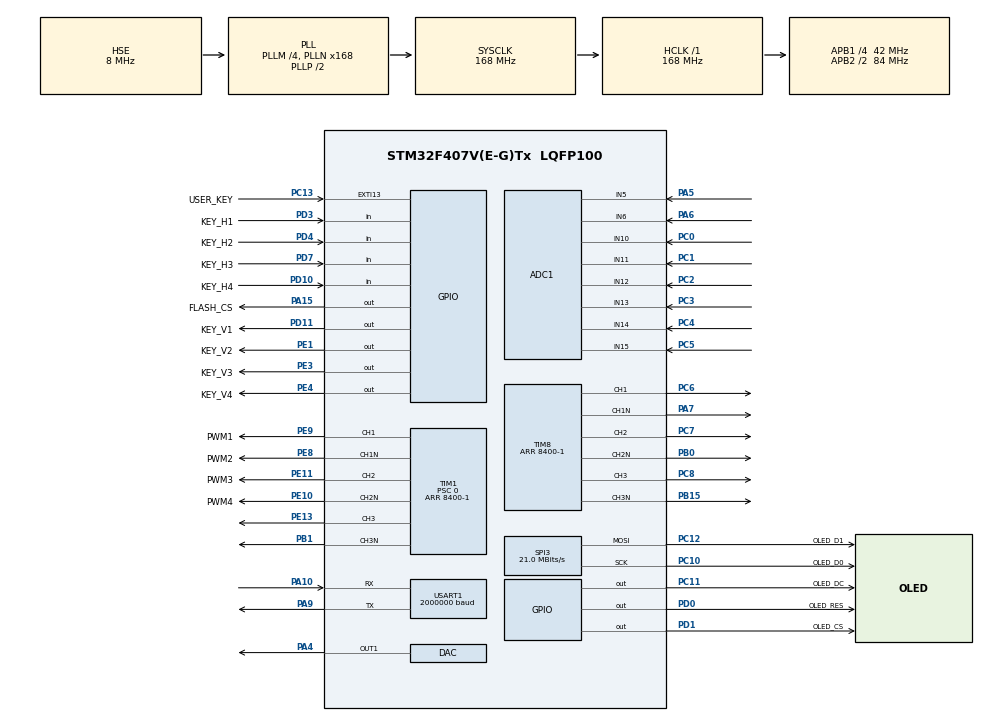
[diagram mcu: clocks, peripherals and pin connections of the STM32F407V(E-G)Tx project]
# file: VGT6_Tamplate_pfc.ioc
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ADC1.Channel-0\#ChannelRegularConversion=ADC_CHANNEL_5
ADC1.Channel-1\#ChannelRegularConversion=ADC_CHANNEL_6
ADC1.Channel-2\#ChannelRegularConversion=ADC_CHANNEL_10
ADC1.Channel-3\#ChannelRegularConversion=ADC_CHANNEL_11
ADC1.Channel-4\#ChannelRegularConversion=ADC_CHANNEL_12
ADC1.Channel-5\#ChannelRegularConversion=ADC_CHANNEL_13
ADC1.Channel-6\#ChannelRegularConversion=ADC_CHANNEL_14
ADC1.Channel-7\#ChannelRegularConversion=ADC_CHANNEL_15
ADC1.ContinuousConvMode=ENABLE
ADC1.DMAContinuousRequests=ENABLE
ADC1.NbrOfConversion=8
ADC1.NbrOfConversionFlag=1
ADC1.Rank-0\#ChannelRegularConversion=1
ADC1.Rank-1\#ChannelRegularConversion=2
ADC1.Rank-2\#ChannelRegularConversion=3
ADC1.Rank-3\#ChannelRegularConversion=4
ADC1.Rank-4\#ChannelRegularConversion=5
ADC1.Rank-5\#ChannelRegularConversion=6
ADC1.Rank-6\#ChannelRegularConversion=7
ADC1.Rank-7\#ChannelRegularConversion=8
ADC1.SamplingTime-0\#ChannelRegularConversion=ADC_SAMPLETIME_84CYCLES
ADC1.SamplingTime-1\#ChannelRegularConversion=ADC_SAMPLETIME_84CYCLES
ADC1.SamplingTime-2\#ChannelRegularConversion=ADC_SAMPLETIME_84CYCLES
ADC1.SamplingTime-3\#ChannelRegularConversion=ADC_SAMPLETIME_84CYCLES
ADC1.SamplingTime-4\#ChannelRegularConversion=ADC_SAMPLETIME_84CYCLES
ADC1.SamplingTime-5\#ChannelRegularConversion=ADC_SAMPLETIME_84CYCLES
ADC1.SamplingTime-6\#ChannelRegularConversion=ADC_SAMPLETIME_84CYCLES
ADC1.SamplingTime-7\#ChannelRegularConversion=ADC_SAMPLETIME_84CYCLES
ADC1.ScanConvMode=ENABLE
ADC1.master=1
Dma.ADC1.2.Direction=DMA_PERIPH_TO_MEMORY
Dma.ADC1.2.FIFOMode=DMA_FIFOMODE_DISABLE
Dma.ADC1.2.Instance=DMA2_Stream0
Dma.ADC1.2.MemDataAlignment=DMA_MDATAALIGN_HALFWORD
Dma.ADC1.2.MemInc=DMA_MINC_ENABLE
Dma.ADC1.2.Mode=DMA_CIRCULAR
Dma.ADC1.2.PeriphDataAlignment=DMA_PDATAALIGN_HALFWORD
Dma.ADC1.2.PeriphInc=DMA_PINC_DISABLE
Dma.ADC1.2.Priority=DMA_PRIORITY_LOW
Dma.Request0=USART1_RX
Dma.Request1=USART1_TX
Dma.Request2=ADC1
Dma.USART1_RX.0.Direction=DMA_PERIPH_TO_MEMORY
Dma.USART1_RX.0.FIFOMode=DMA_FIFOMODE_DISABLE
Dma.USART1_RX.0.Instance=DMA2_Stream2
Dma.USART1_RX.0.MemDataAlignment=DMA_MDATAALIGN_BYTE
Dma.USART1_RX.0.MemInc=DMA_MINC_ENABLE
Dma.USART1_RX.0.Mode=DMA_NORMAL
Dma.USART1_RX.0.PeriphDataAlignment=DMA_PDATAALIGN_BYTE
Dma.USART1_RX.0.PeriphInc=DMA_PINC_DISABLE
Dma.USART1_RX.0.Priority=DMA_PRIORITY_LOW
Dma.USART1_TX.1.Direction=DMA_MEMORY_TO_PERIPH
Dma.USART1_TX.1.FIFOMode=DMA_FIFOMODE_DISABLE
Dma.USART1_TX.1.Instance=DMA2_Stream7
Dma.USART1_TX.1.MemDataAlignment=DMA_MDATAALIGN_BYTE
Dma.USART1_TX.1.MemInc=DMA_MINC_ENABLE
Dma.USART1_TX.1.Mode=DMA_NORMAL
Dma.USART1_TX.1.PeriphDataAlignment=DMA_PDATAALIGN_BYTE
Dma.USART1_TX.1.PeriphInc=DMA_PINC_DISABLE
Dma.USART1_TX.1.Priority=DMA_PRIORITY_LOW
Mcu.Family=STM32F4
Mcu.Name=STM32F407V(E-G)Tx
Mcu.Package=LQFP100
NVIC.DMA2_Stream0_IRQn=true\:0\:0\:false\:false\:true\:false\:true\:true
NVIC.DMA2_Stream2_IRQn=true\:2\:0\:true\:false\:true\:false\:true\:true
NVIC.DMA2_Stream7_IRQn=true\:2\:0\:true\:false\:true\:false\:true\:true
NVIC.EXTI15_10_IRQn=true\:2\:0\:true\:false\:true\:true\:true\:true
NVIC.PriorityGroup=NVIC_PRIORITYGROUP_4
NVIC.TIM3_IRQn=true\:0\:0\:true\:false\:true\:true\:true\:true
NVIC.USART1_IRQn=true\:2\:0\:true\:false\:true\:true\:true\:true
PA10.Mode=Asynchronous
PA10.Signal=USART1_RX
PA15.GPIO_Label=FLASH_CS
PA15.GPIO_PuPd=GPIO_PULLUP
PA15.GPIO_Speed=GPIO_SPEED_FREQ_VERY_HIGH
PA15.Signal=GPIO_Output
PA4.Signal=COMP_DAC1_group
PA5.Signal=ADCx_IN5
PA6.Signal=ADCx_IN6
PA7.Mode=PWM Generation1 CH1 CH1N
PA7.Signal=TIM8_CH1N
PA9.Mode=Asynchronous
PA9.Signal=USART1_TX
PB0.Mode=PWM Generation2 CH2 CH2N
PB0.Signal=TIM8_CH2N
PB1.Mode=Output Compare3 CH3 CH3N
PB1.Signal=TIM1_CH3N
PB15.Mode=PWM Generation3 CH3 CH3N
PB15.Signal=TIM8_CH3N
PC0.Signal=ADCx_IN10
PC1.Signal=ADCx_IN11
PC10.GPIO_Label=OLED_D0
PC10.Mode=TX_Only_Simplex_Unidirect_Master
PC10.Signal=SPI3_SCK
PC11.GPIO_Label=OLED_DC
PC11.GPIO_PuPd=GPIO_PULLUP
PC11.GPIO_Speed=GPIO_SPEED_FREQ_VERY_HIGH
PC11.Signal=GPIO_Output
PC12.GPIO_Label=OLED_D1
PC12.Mode=TX_Only_Simplex_Unidirect_Master
PC12.Signal=SPI3_MOSI
PC13-ANTI_TAMP.GPIO_Label=USER_KEY
PC13-ANTI_TAMP.GPIO_PuPd=GPIO_PULLUP
PC13-ANTI_TAMP.Signal=GPXTI13
PC14-OSC32_IN.Mode=LSE-External-Oscillator
PC14-OSC32_IN.Signal=RCC_OSC32_IN
PC15-OSC32_OUT.Mode=LSE-External-Oscillator
PC15-OSC32_OUT.Signal=RCC_OSC32_OUT
PC2.Signal=ADCx_IN12
PC3.Signal=ADCx_IN13
PC4.Signal=ADCx_IN14
PC5.Signal=ADCx_IN15
PC6.Signal=S_TIM8_CH1
PC7.Signal=S_TIM8_CH2
PC8.Signal=S_TIM8_CH3
PD0.GPIO_Label=OLED_RES
PD0.GPIO_PuPd=GPIO_PULLUP
PD0.GPIO_Speed=GPIO_SPEED_FREQ_VERY_HIGH
PD0.Signal=GPIO_Output
PD1.GPIO_Label=OLED_CS
PD1.GPIO_PuPd=GPIO_PULLUP
PD1.GPIO_Speed=GPIO_SPEED_FREQ_VERY_HIGH
PD1.Signal=GPIO_Output
PD10.GPIO_Label=KEY_H4
PD10.GPIO_PuPd=GPIO_PULLUP
PD10.Signal=GPIO_Input
PD11.GPIO_Label=KEY_V1
PD11.GPIO_PuPd=GPIO_PULLUP
PD11.GPIO_Speed=GPIO_SPEED_FREQ_VERY_HIGH
PD11.PinState=GPIO_PIN_SET
PD11.Signal=GPIO_Output
PD3.GPIO_Label=KEY_H1
PD3.GPIO_PuPd=GPIO_PULLUP
PD3.Signal=GPIO_Input
PD4.GPIO_Label=KEY_H2
PD4.GPIO_PuPd=GPIO_PULLUP
PD4.Signal=GPIO_Input
PD7.GPIO_Label=KEY_H3
PD7.GPIO_PuPd=GPIO_PULLUP
PD7.Signal=GPIO_Input
PE1.GPIO_Label=KEY_V2
PE1.GPIO_PuPd=GPIO_PULLUP
PE1.GPIO_Speed=GPIO_SPEED_FREQ_VERY_HIGH
PE1.PinState=GPIO_PIN_SET
PE1.Signal=GPIO_Output
PE10.GPIO_Label=PWM4
PE10.Mode=PWM Generation2 CH2 CH2N
PE10.Signal=TIM1_CH2N
PE11.GPIO_Label=PWM3
PE11.Signal=S_TIM1_CH2
PE13.Signal=S_TIM1_CH3
PE3.GPIO_Label=KEY_V3
PE3.GPIO_PuPd=GPIO_PULLUP
PE3.GPIO_Speed=GPIO_SPEED_FREQ_VERY_HIGH
PE3.PinState=GPIO_PIN_SET
PE3.Signal=GPIO_Output
PE4.GPIO_Label=KEY_V4
PE4.GPIO_PuPd=GPIO_PULLUP
PE4.GPIO_Speed=GPIO_SPEED_FREQ_VERY_HIGH
PE4.PinState=GPIO_PIN_SET
PE4.Signal=GPIO_Output
PE8.GPIO_Label=PWM2
PE8.Mode=PWM Generation1 CH1 CH1N
PE8.Signal=TIM1_CH1N
PE9.GPIO_Label=PWM1
PE9.Signal=S_TIM1_CH1
PH0-OSC_IN.Mode=HSE-External-Oscillator
PH0-OSC_IN.Signal=RCC_OSC_IN
PH1-OSC_OUT.Mode=HSE-External-Oscillator
PH1-OSC_OUT.Signal=RCC_OSC_OUT
ProjectManager.HeapSize=0x200
ProjectManager.StackSize=0x400
ProjectManager.TargetToolchain=STM32CubeIDE
RCC.48MHZClocksFreq_Value=84000000
RCC.AHBFreq_Value=168000000
RCC.APB1CLKDivider=RCC_HCLK_DIV4
RCC.APB1Freq_Value=42000000
RCC.APB1TimFreq_Value=84000000
RCC.APB2CLKDivider=RCC_HCLK_DIV2
RCC.APB2Freq_Value=84000000
RCC.APB2TimFreq_Value=168000000
RCC.CortexFreq_Value=168000000
RCC.HCLKFreq_Value=168000000
RCC.HSE_VALUE=8000000
RCC.HSI_VALUE=16000000
RCC.PLLM=4
RCC.PLLN=168
RCC.PLLSourceVirtual=RCC_PLLSOURCE_HSE
RCC.SYSCLKFreq_VALUE=168000000
RCC.SYSCLKSource=RCC_SYSCLKSOURCE_PLLCLK
RCC.VCOOutputFreq_Value=336000000
SH.ADCx_IN10.0=ADC1_IN10,IN10
SH.ADCx_IN11.0=ADC1_IN11,IN11
SH.ADCx_IN12.0=ADC1_IN12,IN12
SH.ADCx_IN13.0=ADC1_IN13,IN13
SH.ADCx_IN14.0=ADC1_IN14,IN14
SH.ADCx_IN15.0=ADC1_IN15,IN15
SH.ADCx_IN5.0=ADC1_IN5,IN5
SH.ADCx_IN6.0=ADC1_IN6,IN6
SH.COMP_DAC1_group.0=DAC_OUT1,DAC_OUT1
SH.S_TIM1_CH1.0=TIM1_CH1,PWM Generation1 CH1 CH1N
SH.S_TIM1_CH2.0=TIM1_CH2,PWM Generation2 CH2 CH2N
SH.S_TIM1_CH3.0=TIM1_CH3,Output Compare3 CH3 CH3N
SH.S_TIM8_CH1.0=TIM8_CH1,PWM Generation1 CH1 CH1N
SH.S_TIM8_CH2.0=TIM8_CH2,PWM Generation2 CH2 CH2N
SH.S_TIM8_CH3.0=TIM8_CH3,PWM Generation3 CH3 CH3N
SPI3.CLKPhase=SPI_PHASE_2EDGE
SPI3.CLKPolarity=SPI_POLARITY_HIGH
SPI3.CalculateBaudRate=21.0 MBits/s
SPI3.Direction=SPI_DIRECTION_2LINES
SPI3.Mode=SPI_MODE_MASTER
SPI3.VirtualType=VM_MASTER
TIM1.Channel-Output\ Compare3\ CH3\ CH3N=TIM_CHANNEL_3
TIM1.Channel-PWM\ Generation1\ CH1\ CH1N=TIM_CHANNEL_1
TIM1.Channel-PWM\ Generation2\ CH2\ CH2N=TIM_CHANNEL_2
TIM1.CounterMode=TIM_COUNTERMODE_CENTERALIGNED1
TIM1.DeadTime=30
TIM1.Period=8400-1
TIM1.Prescaler=0
TIM3.AutoReloadPreload=TIM_AUTORELOAD_PRELOAD_ENABLE
TIM3.Period=50-1
TIM3.Prescaler=84-1
TIM8.Channel-PWM\ Generation1\ CH1\ CH1N=TIM_CHANNEL_1
TIM8.Channel-PWM\ Generation2\ CH2\ CH2N=TIM_CHANNEL_2
TIM8.Channel-PWM\ Generation3\ CH3\ CH3N=TIM_CHANNEL_3
TIM8.CounterMode=TIM_COUNTERMODE_CENTERALIGNED1
TIM8.DeadTime=30
TIM8.Period=8400-1
USART1.BaudRate=2000000
USART1.VirtualMode=VM_ASYNC
VP_TIM1_VS_ClockSourceINT.Mode=Internal
VP_TIM3_VS_ClockSourceINT.Mode=Internal
VP_TIM8_VS_ClockSourceINT.Mode=Internal
board=custom

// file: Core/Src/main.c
/* USER CODE BEGIN Header */
/**
  ******************************************************************************
  * @file           : main.c
  * @brief          : Main program body
  ******************************************************************************
  * @attention
  *
  * Copyright (c) 2025 STMicroelectronics.
  * All rights reserved.
  *
  * This software is licensed under terms that can be found in the LICENSE file
  * in the root directory of this software component.
  * If no LICENSE file comes with this software, it is provided AS-IS.
  *
  ******************************************************************************
  */
/* USER CODE END Header */
#include "main.h"
#include "adc.h"
#include "dac.h"
#include "dma.h"
#include "spi.h"
#include "tim.h"
#include "usart.h"
#include "gpio.h"
#include "stdio.h"
#include <stdbool.h>
#include "arm_math.h"
/* USER CODE BEGIN Includes */
#include "../../key&oled/key.h"
#include "../../key&oled/oled.h"
#include "../../Tool_Box/Flash_Tools.h"
#include "../../Tool_Box/Calculate_Tools.h"
#include"../../Tool_Box/ADC_Tools.h"
#include"../../Tool_Box/Control_Tools.h"
#include "../../Tool_Box/Svpwm_Tools.h"
#include"../../Tool_Box/UI_Tools.h"
/* USER CODE END Includes */

/* USER CODE BEGIN PV */

#define CLK_FREQ     20000.0f  // 中断频率和PWM开关频率
#define SQRT2        1.414213562373f
#define Voltage_Freq 50
#define T            1/ CLK_FREQ
#define SAMP_POINT   400       // 20khz的中断，对应50hz的频率，一个周期400个点，计算有效值和偏置有用
#define W0           0.2f* PI  // 这是PR的带宽，一般这个值就够了
#define Wc           50* 2* PI // 这是PR对应的中心频率，这道题中我要去并联50hz的电网，所以用的50* 2
#define WL           (PI* 0.4f)// 这是DQ解耦对应的WL那一项的数据，电感是几mh就乘上0.几，这个是对应的4mh的数据
#define ADC_BUF_LEN  8         // ADC对应的DMA通道数字，需要几个就开几个，我这个是模板工程，配置了8个ADC通道，足够使用，如果用不到这么多记得要在ioc里面删减，并修改这个数字
#define CH_COUNT     10        // 这个是是VOFA上位机对应的通道数，一般VOFA主要用于传输一些控制的变量，可以通过vofa来调控各种控制器的参数
// vofa传输的专用结构体，不要改！！！！！
struct frame{
	float fdata[CH_COUNT];
	unsigned char tail[4];
};
// vofa传输的专用数据尾，不要改！！！！！
struct frame dat={
		.fdata={0},
		.tail={0x00,0x00,0x80,0x7f}
};
// 采样和锁相的代码，锁相这里使用的是T/4锁相，可以直接使用，具体解释看代码中的注释
// Samp & PLL
uint16_t value[ADC_BUF_LEN];//采样用的dma
extern ADC_HandleTypeDef hadc1;//这里为大家配置好了ADC1，启动DMA需要用到这行代码
extern float Uin_rms, Iin_rms, Uout_rms;//采样对应的结果有效值，适用于数据拟合，这个可以在UI_Tools里面配置
extern float U_set, PF, I_set;//这里是设置的一些参数，这个可以在UI_Tools里面配置
float Urms, Irms, Uin, Iin;//有效值计算的中间量
float Umean, Imean;//偏置计算量
float Ume, Um, Ime, Im;//偏置计算中间量
float U_error;//检测误差，用于拟合数据
SampQueue Iin_Queue = {{0},0,0};//队列，用于对输入电流I进行DQ解耦
SampQueue Uin_Queue = {{0},0,0};//队列，用于对电网电压U进行锁相
float Ualpha, Ubeta, Ud, Uq;//锁相中间量，alpha轴和beta轴要进行坐标变换来锁相
float Ialpha, Ibeta, Id, Iq;//解耦中间量，alpha轴和beta轴要进行坐标变换来进行对电流的有功无功解耦
float Udc, Id_ref, Iq_ref, U_dc, Udc_sum;//这里是用于对输出电压进行计算以及有功电流Id和无功电流Iq进行控制
float theta;//记录调制波的相位角度
float Iref;//电流设计的参考值

// PI_Controller
PI_Controller I_loop_d, I_loop_q, Udc_loop;//这里我把PI控制器整合了一下，把增量式的PI和位置式的PI都放在了PI_Controller里面，可以根据需要调用不同函数使用
PLL_Controller PLL;//锁相
PR_Controller PR_I;//PR

// inv transform//反变换计算量，可以去反推DQ解耦的值大概多大，来确定位置式PI的上下限
float UI_d, UI_q, cos_theta;
float UI_alpha, UI_beta;
float Duty1, Duty2;
float wave_d=0, wave_q=0;
float phi=0;

// key & clock & mode
extern uint8_t mode;//控制状态
extern bool PLL_done;//是否完成锁相的标志
volatile bool flag_keypad = false;
int clock_timer = 0;//时钟周期计时
int open_timer = 0; //逆变自动开关
int pid_timer = 0;  //pid计时
int n = 0;//计量定时器周期
bool Spwm_on = false;//spwm波发送开关
/* USER CODE END PV */
void init(void);
void vofa_send(void);
void SystemClock_Config(void);

int main(void)
{

  /* MCU Configuration--------------------------------------------------------*/

  /* Reset of all peripherals, Initializes the Flash interface and the Systick. */

	HAL_Init();

  /* Configure the system clock */
  SystemClock_Config();

  MX_DMA_Init();
  /* Initialize all configured peripherals */
  MX_GPIO_Init();
  MX_DAC_Init();
  MX_ADC1_Init();
  MX_TIM1_Init();
  MX_SPI3_Init();
  MX_TIM3_Init();
  MX_TIM8_Init();
  MX_USART1_UART_Init();
  /* USER CODE BEGIN 2 */
  init();
  OLED_Init();
  OLED_ColorTurn(0);
  OLED_DisplayTurn(0);
  OLED_Clear();
  // ADC的DMA通道开启
  HAL_ADC_Start_DMA(&hadc1, (uint32_t*)value, ADC_BUF_LEN);

  // HAL_Delay(4000);//休眠约3-4s
  while(1)
  {
      show();// 屏幕显示函数
      vofa_send();// vofa发送函数，想要vofa发送的波形好看一些，需要把屏幕显示注释掉，或者单开一个中断用于显示
	  if (flag_keypad)// 按键检测
	  {
		  flag_keypad = false;
		  keypad();
	  }
  }
  /* USER CODE END 3 */
}

void SystemClock_Config(void)
{
  RCC_OscInitTypeDef RCC_OscInitStruct = {0};
  RCC_ClkInitTypeDef RCC_ClkInitStruct = {0};

  /** Configure the main internal regulator output voltage
  */
  __HAL_RCC_PWR_CLK_ENABLE();
  __HAL_PWR_VOLTAGESCALING_CONFIG(PWR_REGULATOR_VOLTAGE_SCALE1);

  /** Initializes the RCC Oscillators according to the specified parameters
  * in the RCC_OscInitTypeDef structure.
  */
  RCC_OscInitStruct.OscillatorType = RCC_OSCILLATORTYPE_HSE;
  RCC_OscInitStruct.HSEState = RCC_HSE_ON;
  RCC_OscInitStruct.PLL.PLLState = RCC_PLL_ON;
  RCC_OscInitStruct.PLL.PLLSource = RCC_PLLSOURCE_HSE;
  RCC_OscInitStruct.PLL.PLLM = 4;
  RCC_OscInitStruct.PLL.PLLN = 168;
  RCC_OscInitStruct.PLL.PLLP = RCC_PLLP_DIV2;
  RCC_OscInitStruct.PLL.PLLQ = 4;
  if (HAL_RCC_OscConfig(&RCC_OscInitStruct) != HAL_OK)
  {
    Error_Handler();
  }

  /** Initializes the CPU, AHB and APB buses clocks
  */
  RCC_ClkInitStruct.ClockType = RCC_CLOCKTYPE_HCLK|RCC_CLOCKTYPE_SYSCLK
                              |RCC_CLOCKTYPE_PCLK1|RCC_CLOCKTYPE_PCLK2;
  RCC_ClkInitStruct.SYSCLKSource = RCC_SYSCLKSOURCE_PLLCLK;
  RCC_ClkInitStruct.AHBCLKDivider = RCC_SYSCLK_DIV1;
  RCC_ClkInitStruct.APB1CLKDivider = RCC_HCLK_DIV4;
  RCC_ClkInitStruct.APB2CLKDivider = RCC_HCLK_DIV2;

  if (HAL_RCC_ClockConfig(&RCC_ClkInitStruct, FLASH_LATENCY_5) != HAL_OK)
  {
    Error_Handler();
  }
}

/* USER CODE BEGIN 4 */
void HAL_TIM_PeriodElapsedCallback(TIM_HandleTypeDef *htim)
{
    if (htim->Instance == htim3.Instance) //20kHz
    {
		clock_timer = (clock_timer + 1) % (int)CLK_FREQ;
		n = clock_timer % SAMP_POINT;
//---------------------------------数据拟合-----------------------------------------
    	Udc = value[0] * 3.3f / 4095 * 23.09f + 0.33f;
    	Um = (value[1] * 3.3f / 4095);
        Uin = (value[1] * 3.3f / 4095 - Umean) * 33.85428f - 0.12788f;
        Im = (value[2] * 3.3f / 4095);
        Iin = -(value[2] * 3.3f / 4095 - Imean) * 2.6069f - 0.0f;
    	Urms += Uin * Uin;
    	Irms += Iin * Iin;
        Ume += Um;
        Ime += Im;
        Udc_sum += Udc;
//---------------------------------队列延时计算PLL和电流解耦-----------------------------------------
        enQueue(&Uin_Queue, Uin);
        enQueue(&Iin_Queue, Iin);
	    // T/4延时法计算Ualpha和Ubeta  Ialpha和Ibeta
	    Ualpha = Uin;
	    Ubeta = Uin_Queue.data[(Uin_Queue.rear- 100+ maxsize)% maxsize];
	    Ialpha = Iin;
	    Ibeta = Iin_Queue.data[(Iin_Queue.rear- 100+ maxsize)% maxsize];
	    // PLL锁相环
	    PLL_Update(&PLL, Ualpha, Ubeta);//锁相出来的角度是PLL.ws，对应的sin和cos则是PLL.sin_theta, PLL.cos_theta
	    arm_park_f32(Ialpha, Ibeta, &Id, &Iq, PLL.sin_theta, PLL.cos_theta);
//-----------------------------------------------模式切换-------------------------------------------------
	    if(mode == 2){
	    	//-----恒流输入----（整流2A输入，PF为1）
	        Id_ref = I_set * SQRT2;//设定电流为Iset，最大值为Iset*sqrt2
	        Iq_ref = 0.0f;//控制无功电流为0，即PF为1
	        theta = PLL.ws;//PR要跟踪的相位
		}
	    else if(mode == 3){
	    	//-----PF设定----（整流2A输入的情况下，修改PF）
	        Id_ref = I_set * SQRT2;//根据PF计算Id
	        Iq_ref = I_set * SQRT2 * sqrtf(1 - PF * PF);//根据PF计算Iq
	        phi = acosf(PF);//用要设定的PF反推相位角
	        theta = PLL.ws - phi;//PR要跟踪的相位
	    }
	    else if(mode == 1){
	    	//-----恒压输出----（设定输出电压恒定，且PF为1）
	        float voltage_error = U_set - U_dc;
	        PI_Pos_Cal(&Udc_loop, voltage_error);//位置式PI进行电压外环的计算
	        Id_ref = fix(Udc_loop.Pos, 0.5f, 3.5f);//电压外环的输出限幅
	        Iq_ref = 0.0f;//控制无功电流为0，即PF为1
	        theta = PLL.ws;//PR要跟踪的相位
	    }
	    if(PLL_done && Spwm_on){//锁相成功并且发波才进行下列运算
	    	//电流内环
	    	//这一段是DQ解耦用的代码，使用前需要看一下，我记得mode2肯定是可以用的，但可能改了前面之后现在有问题，如果有无法解决的问题可以联系我
//			PI_Pos_Cal(&I_loop_d, Id_ref - Id);
//			PI_Pos_Cal(&I_loop_q, Iq_ref - Iq);
//	    	UI_d = (-I_loop_d.Pos + PLL.ud - Iq * WL) / 50.0f;
//	    	UI_q = (-I_loop_q.Pos + PLL.uq + Id * WL) / 50.0f;
//	        //inv park
//	        arm_inv_park_f32(UI_d, UI_q, &UI_alpha, &UI_beta, PLL.sin_theta, PLL.cos_theta);

	    	cos_theta = arm_cos_f32(theta) * 0.99f;//计算PR需要跟踪的波形
	    	PR_Cal(&PR_I, cos_theta * Id_ref - Iin, 1);//PR控制器，输入是要跟踪的波形，输出是PR.output
	    	UI_alpha = (Uin - PR_I.output) / U_dc;//60V输出的时候，控制2A最稳
	        UI_alpha = fix(UI_alpha, -0.95f, 0.95f);//这个是一个控制大小的函数，控制最小值和最大值在-0.95和+0.95之间

	        // 单极性倍频调制
	        Duty1 = (1 + UI_alpha) * 0.5f;//Duty1对应正极半桥桥臂（DQ解耦）
	        Duty2 = (1 - UI_alpha) * 0.5f;//Duty2对应负极半桥桥臂（DQ解耦）
	    	TIM1->CCR1 = (int)(TIM1->ARR+1) * Duty2;
	    	TIM1->CCR2 = (int)(TIM1->ARR+1) * Duty1;
	    }
//-------------------------------------------------DAC------------------------------------------------
        HAL_DAC_SetValue(&hdac, DAC_CHANNEL_1, DAC_ALIGN_12B_R, (UI_alpha + 1.3) * 4096 / 3.3f);//DAC可以用来验证数据正确性
        HAL_DAC_Start(&hdac, DAC_CHANNEL_1);
//-------------------------------------------------RMS-------------------------------------------------
        if(n == 0){//n每计算400个点，也就是一个周期就进行一次重置
            Umean = Ume / SAMP_POINT;
            Imean = Ime / SAMP_POINT;
            Urms = Urms / SAMP_POINT;
            Irms = Irms / SAMP_POINT;
            U_dc = Udc_sum / SAMP_POINT;
            arm_sqrt_f32(Urms, &Uin_rms);
            arm_sqrt_f32(Irms, &Iin_rms);
            Urms = 0.0f;
            Irms = 0.0f;
            Ume = 0.0f;
            Ime = 0.0f;
            Udc_sum = 0.0f;
		}
		if(clock_timer % 2000 == 0)
		{//锁相检测的代码
			if(!Spwm_on && Uin_rms > 22.5f)//大于22.5V才进行锁相
			{
				if(fabs(Uq) < 0.5f) open_timer++;
				else if(fabs(Uq) > 1.0f){
					open_timer = open_timer - 5;
					if(open_timer < 0)open_timer = 0;
				}
				if(open_timer == 50)
				{//锁相成功的标志
					PLL_done = true;
		    		open_timer = 0;
				}
			}
		}
        if(clock_timer % 4000 == 0){//按键检测标志
            flag_keypad = true;
        }
    }
}
void init(void){
    //LCD
    OLED_Init();
    OLED_ColorTurn(0);
    OLED_DisplayTurn(0);
    OLED_Clear();

    //PWM通道初始化
    HAL_TIM_PWM_Stop(&htim1,TIM_CHANNEL_1);
    HAL_TIMEx_PWMN_Stop(&htim1,TIM_CHANNEL_1);
    HAL_TIM_PWM_Stop(&htim1,TIM_CHANNEL_2);
    HAL_TIMEx_PWMN_Stop(&htim1,TIM_CHANNEL_2);

    PI_Pos_Init(&I_loop_d, 3.0f, 0.00033f, -100.0f, 100.0f);//这一段初始化就位置式的PI初始化
    PI_Pos_Init(&I_loop_q, 3.0f, 0.00033f, -100.0f, 100.0f);//这一段初始化就位置式的PI初始化
    PR_Init(&PR_I, T, 2, 25, W0, Wc, 600);//PR初始化

    PI_Pos_Init(&Udc_loop, 0.00005f, 0.00008f, -4.0f, 4.0f);//这一段初始化就位置式的PI初始化
    PLL_Init(&PLL, 60.2f, 0.006f, CLK_FREQ, Voltage_Freq);//锁相环初始化

	//禁用 DMA 完成中断，防止打断主循环
	__HAL_DMA_DISABLE_IT(hadc1.DMA_Handle, DMA_IT_TC);
	HAL_Delay(400);
    HAL_TIM_Base_Start_IT(&htim3);//主控制定时器中断使能
}
// vofa发送数据，直接在这里修改需要发送的数据，注意要是float类型的数据，并且要记得在define里面修改需要发送的数据个数
void vofa_send(void){
	dat.fdata[0]=Udc_loop.Pos;
	dat.fdata[1]=U_dc - U_set;
	dat.fdata[2]=Id;
	dat.fdata[3]=Iq;
	dat.fdata[4]=cos_theta * Id_ref;
	dat.fdata[5]=Iin;
	dat.fdata[6]=Udc;
	dat.fdata[7]=Uin;
	dat.fdata[8]=Iin;
	dat.fdata[9]=Umean;
	HAL_UART_Transmit_DMA(&huart1, (uint8_t*)&dat, sizeof(struct frame));
}
/* USER CODE END 4 */

void Error_Handler(void)
{
  __disable_irq();
  while (1)
  {
  }
}
